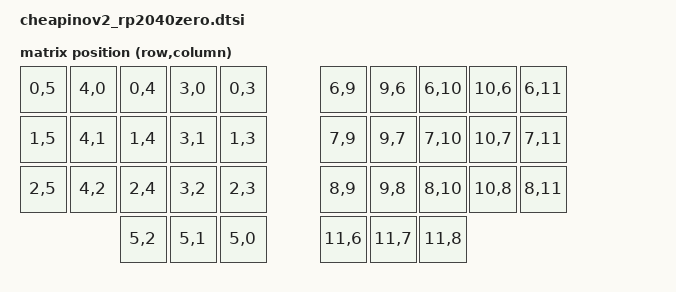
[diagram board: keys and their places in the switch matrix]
/*
 * Copyright (c) 2022 The ZMK Contributors
 *
 * SPDX-License-Identifier: MIT
 */

#include <dt-bindings/zmk/matrix_transform.h>
#include "../cheapinov2/cheapinov2-layout.dtsi"

&cheapino_layout {
    transform = <&default_transform>;
};

/ {
    chosen {
        zmk,kscan = &cheapino_scan;
        zmk,physical-layout = &cheapino_layout;
        transform = <&default_transform>;
    };

    default_transform: keymap_transform_0 {
        compatible = "zmk,matrix-transform";
        columns = <12>;
        rows = <12>;
        map = <
                RC(0,5) RC(4,0) RC(0,4) RC(3,0) RC(0,3)    RC(6,9) RC(9,6) RC(6,10) RC(10,6) RC(6,11)
                RC(1,5) RC(4,1) RC(1,4) RC(3,1) RC(1,3)    RC(7,9) RC(9,7) RC(7,10) RC(10,7) RC(7,11)
                RC(2,5) RC(4,2) RC(2,4) RC(3,2) RC(2,3)    RC(8,9) RC(9,8) RC(8,10) RC(10,8) RC(8,11)
                                RC(5,2) RC(5,1) RC(5,0)    RC(11,6) RC(11,7) RC(11,8)
        >;
    };

    cheapino_scan: kscan0 {
        compatible = "zmk,kscan-gpio-charlieplex";

        gpios
            // Left side (pins 0–5)
            = <&gpio0 27 (GPIO_ACTIVE_HIGH | GPIO_PULL_DOWN)> // Pin 0: L-Row0 (GP27)
            , <&gpio0 28 (GPIO_ACTIVE_HIGH | GPIO_PULL_DOWN)> // Pin 1: L-Row1 (GP28)
            , <&gpio0 29 (GPIO_ACTIVE_HIGH | GPIO_PULL_DOWN)> // Pin 2: L-Row2 (GP29)
            , <&gpio0 14 (GPIO_ACTIVE_HIGH | GPIO_PULL_DOWN)> // Pin 3: L-Col0 (GP14)
            , <&gpio0 15 (GPIO_ACTIVE_HIGH | GPIO_PULL_DOWN)> // Pin 4: L-Col1 (GP15)
            , <&gpio0 26 (GPIO_ACTIVE_HIGH | GPIO_PULL_DOWN)> // Pin 5: L-Col2 (GP26)

            // Right side (pins 6–11)
            , <&gpio0 3 (GPIO_ACTIVE_HIGH | GPIO_PULL_DOWN)>  // Pin 6: R-Row0 (GP3)
            , <&gpio0 1 (GPIO_ACTIVE_HIGH | GPIO_PULL_DOWN)>  // Pin 7: R-Row1 (GP1)
            , <&gpio0 2 (GPIO_ACTIVE_HIGH | GPIO_PULL_DOWN)>  // Pin 8: R-Row2 (GP2)
            , <&gpio0 6 (GPIO_ACTIVE_HIGH | GPIO_PULL_DOWN)>  // Pin 9: R-Col0 (GP6)
            , <&gpio0 5 (GPIO_ACTIVE_HIGH | GPIO_PULL_DOWN)>  // Pin 10: R-Col1 (GP5)
            , <&gpio0 4 (GPIO_ACTIVE_HIGH | GPIO_PULL_DOWN)>  // Pin 11: R-Col2 (GP4)
            ;
    };
};
